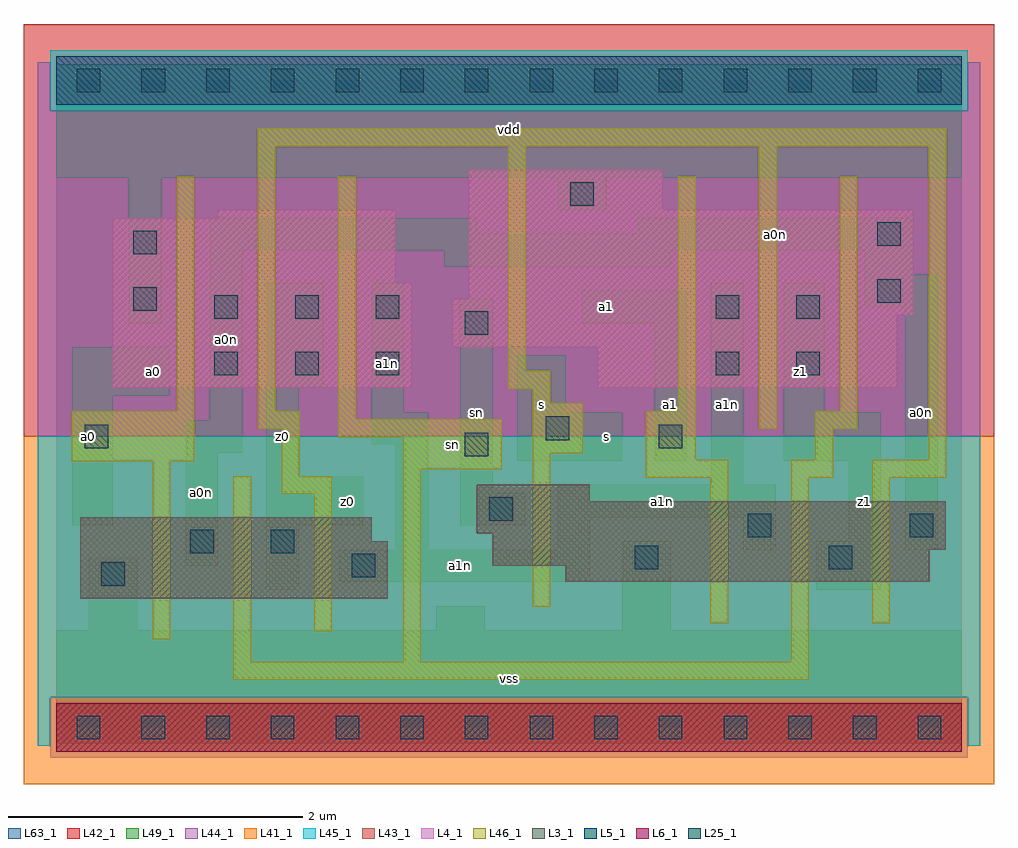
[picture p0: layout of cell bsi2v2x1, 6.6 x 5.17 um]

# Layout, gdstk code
import gdstk
lib = gdstk.Library(unit=1e-6, precision=1e-09)
def R(c, l, rs):  # rectangles x0, y0, x1, y1
    for r in rs: c.add(gdstk.rectangle(r[:2], r[2:], *l))
def A(c, l, x, y, w, h, nx, ny, dx, dy):  # array of equal rectangles
    R(c, l, [(x+i*dx, y+j*dy, x+i*dx+w, y+j*dy+h) for i in range(nx) for j in range(ny)])
L3_1 = (3, 1)
L4_1 = (4, 1)
L5_1 = (5, 1)
L6_1 = (6, 1)
L25_1 = (25, 1)
L41_1 = (41, 1)
L42_1 = (42, 1)
L43_1 = (43, 1)
L44_1 = (44, 1)
L45_1 = (45, 1)
L46_1 = (46, 1)
L49_1 = (49, 1)
L63_1 = (63, 1)

bsi2v2x1 = lib.new_cell('bsi2v2x1')
R(bsi2v2x1, L3_1, [(0.165,0.88,2.255,1.265), (3.465,0.99,5.94,1.1), (2.97,1.1,5.94,1.21), (2.97,1.21,6.05,1.32), (0.165,1.265,2.145,1.43), (2.86,1.32,6.05,1.54), (2.86,1.54,3.63,1.65)])
R(bsi2v2x1, L4_1, [(0.385,2.31,2.42,3.025), (3.685,2.31,5.72,2.585), (2.695,2.585,5.72,2.805), (2.695,2.805,5.83,2.915), (2.805,2.915,5.83,3.52), (0.385,3.025,2.31,3.465), (1.1,3.465,2.31,3.52), (2.805,3.52,4.125,3.795)])
R(bsi2v2x1, L5_1, [(0,4.235,6.16,4.565)])
R(bsi2v2x1, L6_1, [(0,-0.165,6.16,0.165)])
A(bsi2v2x1, L25_1, 0.14, -0.08, 0.16, 0.16, 14, 2, 0.44, 4.4)
A(bsi2v2x1, L25_1, 1.075, 2.395, 0.16, 0.16, 3, 2, 0.55, 0.385)
R(bsi2v2x1, L25_1, [(0.305,0.965,0.465,1.125), (2.01,1.02,2.17,1.18), (3.935,1.075,4.095,1.235), (5.255,1.075,5.415,1.235), (0.91,1.185,1.07,1.345), (1.46,1.185,1.62,1.345), (4.705,1.295,4.865,1.455), (5.805,1.295,5.965,1.455), (2.945,1.405,3.105,1.565), (2.78,1.845,2.94,2.005), (0.195,1.9,0.355,2.06), (4.1,1.9,4.26,2.06), (3.33,1.955,3.49,2.115), (4.485,2.395,4.645,2.555), (5.035,2.395,5.195,2.555), (2.78,2.67,2.94,2.83), (4.485,2.78,4.645,2.94), (5.035,2.78,5.195,2.94), (0.525,2.835,0.685,2.995), (5.585,2.89,5.745,3.05), (0.525,3.22,0.685,3.38), (5.585,3.275,5.745,3.435), (3.495,3.55,3.655,3.71)])
R(bsi2v2x1, L41_1, [(-0.22,-0.385,6.38,1.98)])
R(bsi2v2x1, L42_1, [(-0.22,1.98,6.38,4.785)])
R(bsi2v2x1, L43_1, [(0,-0.165,6.16,0.165), (0.165,0.88,2.255,1.265), (3.465,0.99,5.94,1.1), (2.97,1.1,5.94,1.21), (2.97,1.21,6.05,1.32), (0.165,1.265,2.145,1.43), (2.86,1.32,6.05,1.54), (2.86,1.54,3.63,1.65), (0.385,2.31,2.42,3.025), (3.685,2.31,5.72,2.585), (2.695,2.585,5.72,2.805), (2.695,2.805,5.83,2.915), (2.805,2.915,5.83,3.52), (0.385,3.025,2.31,3.465), (1.1,3.465,2.31,3.52), (2.805,3.52,4.125,3.795), (0,4.235,6.16,4.565)])
R(bsi2v2x1, L44_1, [(-0.04,-0.205,6.2,0.205), (-0.125,1.98,6.285,4.195), (-0.125,4.195,-0.04,4.525), (6.2,4.195,6.285,4.525)])
R(bsi2v2x1, L45_1, [(-0.125,-0.125,-0.04,0.205), (6.2,-0.125,6.285,0.205), (-0.125,0.205,6.285,1.98), (-0.04,4.195,6.2,4.605)])
R(bsi2v2x1, L46_1, [(1.205,0.325,5.12,0.445), (1.205,0.445,1.325,1.71), (2.36,0.445,2.48,1.755), (5,0.445,5.12,1.7), (0.655,0.6,0.775,1.81), (1.755,0.655,1.875,1.59), (4.45,0.71,4.57,1.7), (5.55,0.71,5.67,1.7), (3.24,0.82,3.36,1.865), (1.535,1.59,1.875,1.71), (4.01,1.7,4.57,1.82), (5,1.7,5.285,1.82), (5.55,1.7,6.055,1.82), (1.535,1.71,1.655,2.03), (2.36,1.755,3.03,1.975), (0.105,1.81,0.94,2.15), (4.01,1.82,4.35,2.15), (5.165,1.82,5.285,2.03), (5.935,1.82,6.055,3.955), (3.24,1.865,3.58,2.205), (1.92,1.975,3.03,2.095), (1.37,2.03,1.655,2.15), (4.78,2.03,4.9,3.955), (5.165,2.03,5.45,2.15), (1.92,2.095,2.04,3.745), (0.82,2.15,0.94,3.745), (1.37,2.15,1.49,3.955), (4.23,2.15,4.35,3.745), (5.33,2.15,5.45,3.745), (3.24,2.205,3.36,2.305), (3.075,2.305,3.36,2.425), (3.075,2.425,3.195,3.955), (1.37,3.955,6.055,4.075)])
R(bsi2v2x1, L49_1, [(0,-0.11,6.16,0.66), (0.22,0.66,0.55,1.155), (2.585,0.66,2.915,0.825), (3.85,0.66,4.18,1.265), (1.43,0.935,1.65,1.375), (5.17,0.935,5.61,1.265), (1.925,0.99,3.63,1.21), (0.88,1.1,1.1,1.87), (2.31,1.21,2.53,1.925), (3.41,1.21,3.63,1.43), (4.675,1.21,4.895,1.43), (5.775,1.21,5.995,2.86), (5.39,1.265,5.61,1.815), (0.11,1.375,0.385,2.255), (1.43,1.375,2.09,1.705), (2.75,1.375,3.19,1.595), (3.41,1.43,4.895,1.65), (2.75,1.595,2.97,2.915), (4.455,1.65,4.675,3.025), (1.43,1.705,1.65,2.31), (3.135,1.815,3.85,2.145), (4.07,1.815,4.29,2.75), (4.95,1.815,5.61,2.145), (0.88,1.87,1.265,2.09), (2.145,1.925,2.53,2.145), (1.045,2.09,1.265,3.245), (2.145,2.145,2.365,3.025), (3.135,2.145,3.465,2.53), (4.95,2.145,5.225,3.025), (0.11,2.255,0.77,2.585), (1.43,2.31,1.815,3.025), (0.495,2.75,0.715,3.74), (3.575,2.75,4.29,2.97), (5.5,2.86,5.995,3.08), (5.5,3.08,5.83,3.245), (2.64,3.135,4.18,3.245), (1.045,3.245,5.83,3.355), (1.045,3.355,2.86,3.465), (3.96,3.355,5.83,3.465), (3.41,3.52,3.74,3.74), (0,3.74,6.16,4.51)])
R(bsi2v2x1, L63_1, [(0,0,6.16,4.4)])
bsi2v2x1.add(gdstk.Label('sn', (2.695,1.925), layer=46, texttype=1))
bsi2v2x1.add(gdstk.Label('a0n', (0.99,1.595), layer=49, texttype=1))
bsi2v2x1.add(gdstk.Label('a0', (0.22,1.98), layer=49, texttype=1))
bsi2v2x1.add(gdstk.Label('a0', (0.66,2.42), layer=49, texttype=1))
bsi2v2x1.add(gdstk.Label('z0', (1.98,1.54), layer=49, texttype=1))
bsi2v2x1.add(gdstk.Label('z0', (1.54,1.98), layer=49, texttype=1))
bsi2v2x1.add(gdstk.Label('a1n', (2.255,2.475), layer=49, texttype=1))
bsi2v2x1.add(gdstk.Label('a0n', (1.155,2.64), layer=49, texttype=1))
bsi2v2x1.add(gdstk.Label('vss', (3.08,0.33), layer=49, texttype=1))
bsi2v2x1.add(gdstk.Label('a1n', (2.75,1.1), layer=49, texttype=1))
bsi2v2x1.add(gdstk.Label('s', (3.3,2.2), layer=49, texttype=1))
bsi2v2x1.add(gdstk.Label('sn', (2.86,2.145), layer=49, texttype=1))
bsi2v2x1.add(gdstk.Label('vdd', (3.08,4.07), layer=49, texttype=1))
bsi2v2x1.add(gdstk.Label('a1n', (4.125,1.54), layer=49, texttype=1))
bsi2v2x1.add(gdstk.Label('s', (3.74,1.98), layer=49, texttype=1))
bsi2v2x1.add(gdstk.Label('a1', (4.18,2.2), layer=49, texttype=1))
bsi2v2x1.add(gdstk.Label('a1', (3.74,2.86), layer=49, texttype=1))
bsi2v2x1.add(gdstk.Label('a1n', (4.565,2.2), layer=49, texttype=1))
bsi2v2x1.add(gdstk.Label('z1', (5.5,1.54), layer=49, texttype=1))
bsi2v2x1.add(gdstk.Label('z1', (5.06,2.42), layer=49, texttype=1))
bsi2v2x1.add(gdstk.Label('a0n', (5.885,2.145), layer=49, texttype=1))
bsi2v2x1.add(gdstk.Label('a0n', (4.895,3.355), layer=49, texttype=1))

lib.write_gds('bsi2v2x1.gds')
